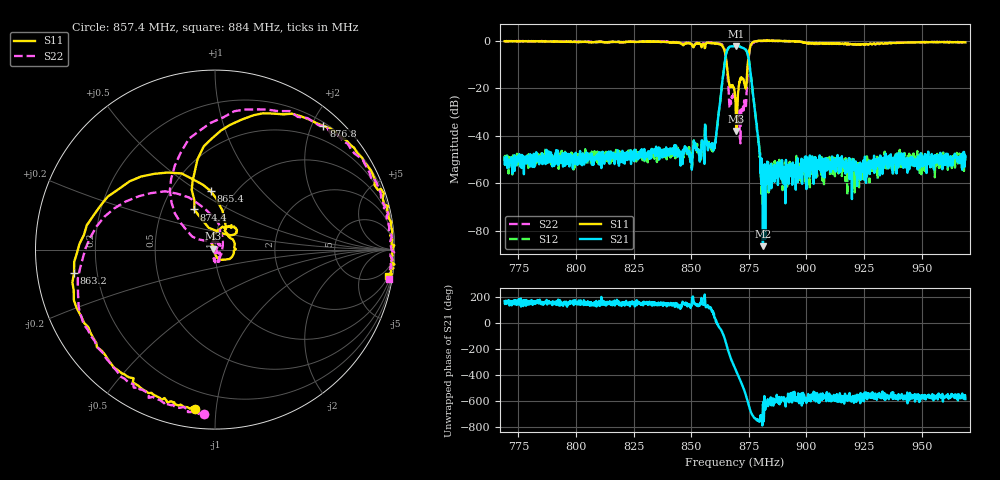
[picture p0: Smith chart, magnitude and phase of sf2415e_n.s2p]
!Agilent Technologies,E5071C,MY46104097,A.08.12
!Date: Wed Aug 16 11:23:26 2017
!Data & Calibration Information:
!Freq	S11:SOLT2(ON)	S21:SOLT2(ON)	S12:SOLT2(ON)	S22:SOLT2(ON)
# Hz S RI R 50
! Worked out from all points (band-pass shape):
!   1601 points, 769 MHz to 969 MHz, reference 50 ohm
!   highest |S21| = -2.27 dB at 869.6 MHz (marker M1); lowest = -86.3 dB at 881.1 MHz (marker M2)
!   |S21| within 3 dB of the highest: 865.2 MHz to 874.4 MHz (9.15 MHz wide, 1.05 % of centre)
!   lowest |S11| = -38.0 dB at 869.6 MHz (marker M3), VSWR 1.03, Z = 48.9 + j0.544 ohm
!   |S11| at or under -10 dB: 865.4 MHz to 874.5 MHz (9.14 MHz wide, 1.05 % of centre)
!   |S22| runs from -43.2 to 0.0 dB; largest |S21 - S12| = 0.0073
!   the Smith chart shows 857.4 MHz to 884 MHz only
!   S11 on the Smith chart (normalised r, x): 857.4 MHz: 0.10, -0.88; 863.2 MHz: 0.11, -0.08; 865.4 MHz: 0.77, +0.56; 874.4 MHz: 0.72, +0.35; 876.8 MHz: 0.25, +2.18; 884 MHz: 2, -13
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7.69e8  0.6237 -0.7382  -0.00335 0.000817  -0.00227 0.00185  0.6165 -0.7501
8.02375e8  0.533 -0.762  -0.00263 0.00137  -0.00322 0.00133  0.5271 -0.7811
8.3575e8  0.3593 -0.8826  -0.00458 0.00219  -0.00287 0.00138  0.3669 -0.8748
8.49625e8  0.0884 -0.8614  -0.00151 0.00237  -0.00211 0.00346  0.1389 -0.8528
8.57375e8  -0.1106 -0.8908  -0.00384 0.00583  -0.00383 0.00569  -0.0629 -0.9144
8.60125e8  -0.4178 -0.7673  0.00531 0.0045  0.00383 0.00394  -0.3246 -0.8314
8.6325e8  -0.7854 -0.1317  0.0482 -0.0965  0.0469 -0.0967  -0.7461 -0.3696
8.65375e8  -0.0237 0.326  -0.5804 -0.0577  -0.5772 -0.0603  -0.1447 0.2905
8.67125e8  0.075 0.0728  0.00465 0.7538  0.00318 0.7504  0.0243 -0.0487
8.69e8  0.038 -0.057  0.7494 0.1485  0.7498 0.1492  -0.00616 -0.0622
8.69625e8  -0.0114 0.00556  0.7478 -0.1824  0.743 -0.1868  -0.00397 -0.0478
8.71625e8  0.1053 0.1289  -0.0677 -0.7216  -0.0674 -0.7241  0.0115 0.0177
8.73125e8  0.0919 0.0804  -0.646 -0.2009  -0.6435 -0.203  0.0184 0.0436
8.74375e8  -0.1155 0.224  -0.3185 0.4405  -0.3206 0.4399  -0.1644 0.1155
8.75375e8  0.0345 0.6645  0.1412 0.264  0.1364 0.2648  -0.1452 0.6178
8.7675e8  0.6037 0.6894  0.0778 0.00987  0.0788 0.00962  0.5147 0.7328
8.785e8  0.8924 0.3867  0.013 -0.00505  0.0149 -0.00695  0.8601 0.4302
8.81125e8  0.9829 0.0652  -5.52e-06 4.79e-05  1.34e-05 0.000331  0.9845 0.069
8.84e8  0.9646 -0.1487  -0.000809 0.00157  -0.000773 0.00168  0.9706 -0.1619
9.02375e8  0.6919 -0.5307  -0.00243 0.0013  -0.00276 0.00211  0.7062 -0.5425
9.3575e8  0.6912 -0.552  -0.0015 0.00152  -0.00284 0.00116  0.6769 -0.5786
9.69e8  0.6345 -0.6587  -0.00265 0.00261  -0.00239 0.00178  0.6149 -0.6875
